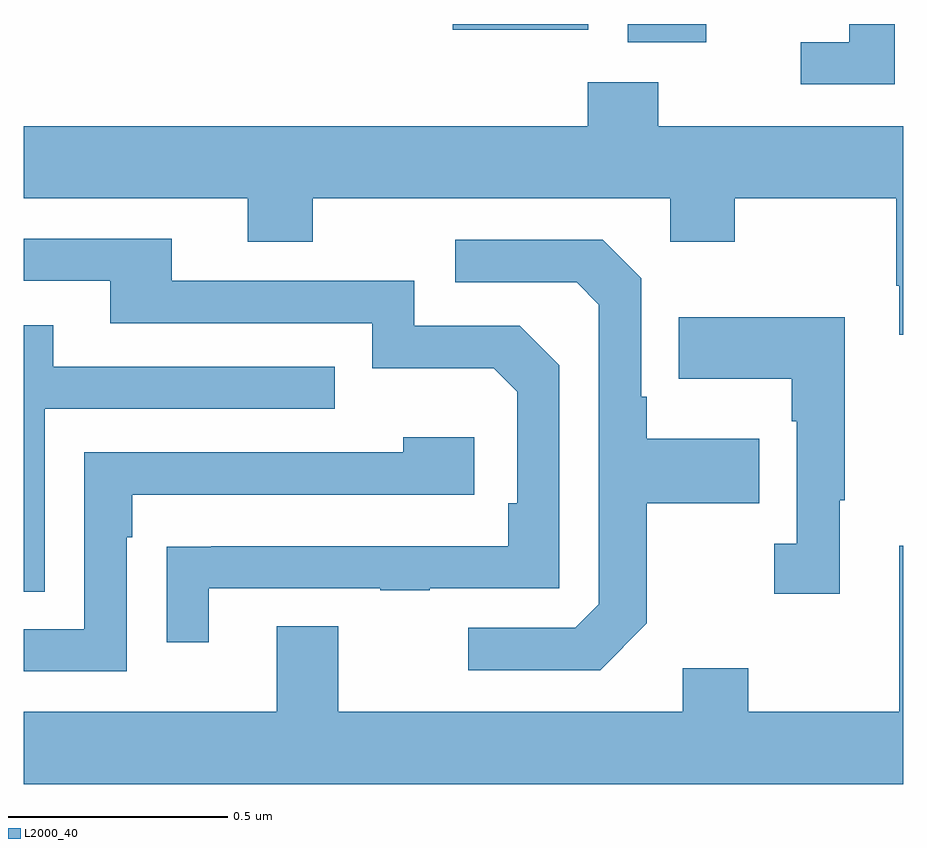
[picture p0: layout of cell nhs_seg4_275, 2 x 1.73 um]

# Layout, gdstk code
import gdstk
lib = gdstk.Library(unit=1e-6, precision=1e-09)
def R(c, l, rs):  # rectangles x0, y0, x1, y1
    for r in rs: c.add(gdstk.rectangle(r[:2], r[2:], *l))
def P(c, l, *ps):  # polygons
    for p in ps: c.add(gdstk.Polygon(p, *l))
L2000_40 = (2000, 40)

nhs_seg4_275 = lib.new_cell('nhs_seg4_275')
R(nhs_seg4_275, L2000_40, [(115.373,779.858,115.552,779.9), (114.975,779.887,115.284,779.9)])
P(nhs_seg4_275, L2000_40, [(115.981,779.9),(115.877,779.9),(115.877,779.859),(115.767,779.859),(115.767,779.763),(115.981,779.763)],
  [(116,779.668),(115.443,779.668),(115.443,779.767),(115.283,779.767),(115.283,779.668),(114,779.668),(114,779.504),(114.509,779.504),(114.509,779.405),(114.657,779.405),(114.657,779.504),(115.47,779.504),(115.47,779.405),(115.617,779.405),(115.617,779.504),(115.984,779.504),(115.984,779.305),(115.991,779.305),(115.991,779.193),(116,779.193)],
  [(114.421,778.617),(114.811,778.617),(114.811,778.612),(114.923,778.612),(114.923,778.617),(115.218,778.617),(115.218,779.124),(115.128,779.214),(114.888,779.214),(114.888,779.316),(114.337,779.316),(114.337,779.412),(114,779.412),(114,779.316),(114.197,779.316),(114.197,779.22),(114.792,779.22),(114.792,779.117),(115.069,779.117),(115.122,779.064),(115.122,778.81),(115.102,778.81),(115.102,778.713),(114.427,778.713),(114.427,778.712),(114.325,778.712),(114.325,778.494),(114.421,778.494)],
  [(115.417,778.537),(115.417,778.81),(115.673,778.81),(115.673,778.957),(115.417,778.957),(115.417,779.053),(115.404,779.053),(115.404,779.322),(115.317,779.409),(114.981,779.409),(114.981,779.313),(115.257,779.313),(115.308,779.262),(115.308,778.581),(115.254,778.527),(115.011,778.527),(115.011,778.431),(115.311,778.431)],
  [(115.855,778.817),(115.867,778.817),(115.867,779.233),(115.489,779.233),(115.489,779.093),(115.746,779.093),(115.746,778.997),(115.758,778.997),(115.758,778.718),(115.707,778.718),(115.707,778.605),(115.855,778.605)],
  [(114.048,779.025),(114.707,779.025),(114.707,779.121),(114.067,779.121),(114.067,779.215),(114,779.215),(114,778.609),(114.048,778.609)],
  [(114.234,778.733),(114.247,778.733),(114.247,778.83),(115.024,778.83),(115.024,778.96),(114.863,778.96),(114.863,778.926),(114.138,778.926),(114.138,778.524),(114,778.524),(114,778.428),(114.234,778.428)],
  [(116,778.714),(115.991,778.714),(115.991,778.336),(115.647,778.336),(115.647,778.435),(115.499,778.435),(115.499,778.336),(114.715,778.336),(114.715,778.531),(114.575,778.531),(114.575,778.336),(114,778.336),(114,778.172),(116,778.172)])

lib.write_gds('nhs_seg4_275.gds')
